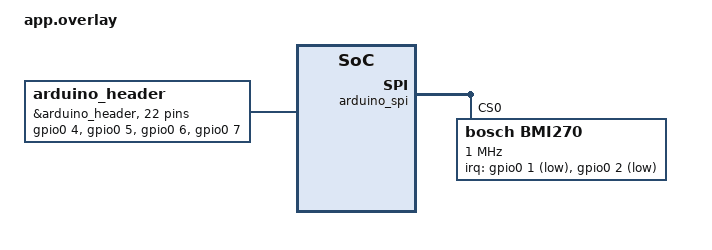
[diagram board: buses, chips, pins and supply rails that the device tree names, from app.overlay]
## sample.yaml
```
sample:
  name: BMI270 Sensor sample
tests:
  sample.sensor.bmi270:
    harness: sensor
    tags: samples sensor
    depends_on: arduino_spi
```

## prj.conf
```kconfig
CONFIG_SPI=y
CONFIG_SENSOR=y
CONFIG_NEWLIB_LIBC=y
CONFIG_NEWLIB_LIBC_FLOAT_PRINTF=y
CONFIG_BMI270_TRIGGER_GLOBAL_THREAD=y
```

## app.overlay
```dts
/*
 * Copyright (c) 2021 Bosch Sensortec GmbH
 *
 * SPDX-License-Identifier: Apache-2.0
 */

&arduino_spi {
	status = "okay";
	bmi270@0 {
		compatible = "bosch,bmi270";
		reg = <0x0 >;
		spi-max-frequency = <1000000>;
		irq-gpios = <&gpio0 1 (GPIO_ACTIVE_LOW)>,
					<&gpio0 2 (GPIO_ACTIVE_LOW)>;
	};
	// cs-gpios = <&gpio1 12 GPIO_ACTIVE_LOW>;
};

&gpiote1 {
	status = "okay";
};

&arduino_header {
	gpio-map = <0 0 &gpio0 4 0>,
			   <1 0 &gpio0 5 0>,
			   <2 0 &gpio0 6 0>,
			   <3 0 &gpio0 7 0>,
			   <4 0 &gpio0 25 0>,
			   <5 0 &gpio0 26 0>,
			   <6 0 &gpio1 0 0>,
			   <7 0 &gpio1 1 0>,
			   <8 0 &gpio1 4 0>,
			   <9 0 &gpio1 5 0>,
			   <10 0 &gpio1 6 0>,
			   <11 0 &gpio1 7 0>,
			   <12 0 &gpio1 8 0>,
			   <13 0 &gpio1 9 0>,
			   <14 0 &gpio1 10 0>,
			   <15 0 &gpio1 11 0>,
			   <16 0 &gpio1 12 0>,
			   <17 0 &gpio1 13 0>,
			   <18 0 &gpio1 14 0>,
			   <19 0 &gpio1 15 0>,
			   <20 0 &gpio1 2 0>,
			   <21 0 &gpio1 3 0>;
};
```

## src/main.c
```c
/*
 * Copyright (c) 2021 Bosch Sensortec GmbH
 *
 * SPDX-License-Identifier: Apache-2.0
 */

#include <zephyr/kernel.h>
#include <zephyr/device.h>
#include <zephyr/drivers/sensor.h>
#include <stdio.h>
#include "bmi270_api.h"
#include <../../../../drivers/sensor/bmi270/bmi270.h>

double sensor_get_double(const struct sensor_value *val);


sensor_trigger_handler_t trigger_handler(const struct device *dev,
			    const struct sensor_trigger *trig)
{
	struct sensor_value acc[3];
	static size_t cnt;
	int rc;

	++cnt;
	rc = sensor_sample_fetch(dev);
	if (rc != 0) {
		printf("sensor_sample_fetch error: %d\n", rc);
		return;
	}
	rc = sensor_channel_get(dev, SENSOR_CHAN_ACCEL_XYZ, acc);
	if (rc != 0) {
		printf("sensor_channel_get error: %d\n", rc);
		return;
	}

	printf("trigger fired %u, AX: %d.%06d; AY: %d.%06d; AZ: %d.%06d;\n", cnt,
	       acc[0].val1, acc[0].val2, acc[1].val1, acc[1].val2, acc[2].val1, acc[2].val2);
}

void main(void)
{
	const struct device *const dev = DEVICE_DT_GET_ONE(bosch_bmi270);
	struct sensor_value acc[3], gyr[3];
	int ret;
	uint8_t reg_value;
	uint8_t feat_page = 1;
	uint8_t pwr_mode = 0x00;
	uint16_t anymo_1_read;

	bmi270_init(dev);
	bmi270_config_anymotion_interrupt(dev,0x5,0xAA);
	bmi270_set_anymotion_trigger(dev, trigger_handler);
	bmi270_basic_config_acc(dev, 2, 800, 1);
	bmi270_basic_config_gyr(dev, 500, 800, 1);
	
	ret = bmi270_reg_read(dev, BMI270_REG_INT1_MAP_FEAT, &reg_value, 1);
	printf("ret int1_map_feat_read: %d\n", ret);
	printf("reg_value int1_map_feat: %x\n\n", reg_value);

	ret = bmi270_reg_write(dev, BMI270_REG_FEAT_PAGE, &feat_page, 1);
	printf("ret feat_page_write: %d\n", ret);
	ret = bmi270_reg_read(dev, BMI270_REG_FEAT_PAGE, &reg_value, 1);
	printf("ret feat_page_read: %d\n", ret);
	printf("reg_value feat_page: %d\n\n", reg_value);

	ret = bmi270_reg_read(dev, BMI270_REG_PWR_CONF, &reg_value, 1);
	printf("ret pwr_conf_read: %d\n", ret);
	printf("reg_value pwr_conf: %x\n\n", reg_value);

	ret = bmi270_reg_write(dev, BMI270_REG_PWR_CTRL, &pwr_mode, 1);
	printf("ret pwr_mode_write: %d\n", ret);

	ret = bmi270_reg_read(dev, BMI270_REG_PWR_CTRL, &reg_value, 1);
	printf("ret pwr_mode_read: %d\n", ret);
	printf("reg_value pwr_conf: %x\n\n", reg_value);

	ret = bmi270_reg_read(dev, 0x3C,&anymo_1_read, 2);
	printf("ret anymo_1_read: %d\n", ret);
	printf("anymo_1_read: 0x%x\n\n", anymo_1_read);
	// while (1) {
	// 	/* 10ms period, 100Hz Sampling frequency */
	// 	k_sleep(K_MSEC(500));

	// 	sensor_sample_fetch(dev);

	// 	sensor_channel_get(dev, SENSOR_CHAN_ACCEL_XYZ, acc);
	// 	sensor_channel_get(dev, SENSOR_CHAN_GYRO_XYZ, gyr);
	// 	printf("AX: %d.%06d; AY: %d.%06d; AZ: %d.%06d; GX: %d.%06d; GY: %d.%06d; GZ: %d.%06d;\n",
	// 	       acc[0].val1, acc[0].val2,
	// 	       acc[1].val1, acc[1].val2,
	// 	       acc[2].val1, acc[2].val2,
	// 	       gyr[0].val1, gyr[0].val2,
	// 	       gyr[1].val1, gyr[1].val2,
	// 	       gyr[2].val1, gyr[2].val2);
	// }
	while(1){
		k_sleep(K_MSEC(100));
	}
}
double sensor_get_double(const struct sensor_value *val)
{
	if(val->val1>=0) {
		return (double)val->val1 + (double)val->val2 / 1000000.0;
	}
	return (double)val->val1 - (double)val->val2 / 1000000.0;
}
```

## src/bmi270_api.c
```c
#include <zephyr/kernel.h>
#include <zephyr/device.h>
#include <zephyr/drivers/sensor.h>
#include <stdio.h>
#include "bmi270_api.h"
#include <../../../../drivers/sensor/bmi270/bmi270.h>
struct sensor_trigger trig;

void bmi270_init(const struct device *const bmi270_dev){
    if (!device_is_ready(bmi270_dev))
	{
		printf("Device %s is not ready\n", bmi270_dev->name);
		return;
	}
	printf("Device %p name is %s\n", bmi270_dev, bmi270_dev->name);
}

void bmi270_basic_config_acc(const struct device *const bmi270_dev, uint16_t full_scale, uint16_t sampling_freq, uint16_t oversampling){
    int rc;
	struct sensor_value Full_scale, Sampling_freq, Oversampling;
    Full_scale.val1 = full_scale;
    Full_scale.val2 = 0;
    Sampling_freq.val1 = sampling_freq;
    Sampling_freq.val2 = 0;
    Oversampling.val1 = oversampling;
    Oversampling.val2 = 0;
    rc = sensor_attr_set(bmi270_dev, SENSOR_CHAN_ACCEL_XYZ, SENSOR_ATTR_FULL_SCALE,
					&Full_scale);
	if (rc != 0) {
		printf("ACCEL full scale attr set failed: %d\n", rc);
		return;
	}
	rc = sensor_attr_set(bmi270_dev, SENSOR_CHAN_ACCEL_XYZ, SENSOR_ATTR_OVERSAMPLING,
					&Oversampling);
	if (rc != 0) {
		printf("ACCEL oversampling attr set failed: %d\n", rc);
		return;
	}
	/* Set sampling frequency last as this also sets the appropriate
	 * power mode. If already sampling, change to 0.0Hz before changing
	 * other attributes
	 */
	rc = sensor_attr_set(bmi270_dev, SENSOR_CHAN_ACCEL_XYZ,SENSOR_ATTR_SAMPLING_FREQUENCY,
					&Sampling_freq);
	if (rc != 0) {
		printf("ACCEL sampling frequency attr set failed: %d\n", rc);
		return;
	}
}
void bmi270_basic_config_gyr(const struct device *const bmi270_dev, uint16_t full_scale, uint16_t sampling_freq, uint16_t oversampling){
    int rc;
	struct sensor_value Full_scale, Sampling_freq, Oversampling;
    Full_scale.val1 = full_scale;
    Full_scale.val2 = 0;
    Sampling_freq.val1 = sampling_freq;
    Sampling_freq.val2 = 0;
    Oversampling.val1 = oversampling;
    Oversampling.val2 = 0;
    rc = sensor_attr_set(bmi270_dev, SENSOR_CHAN_GYRO_XYZ, SENSOR_ATTR_FULL_SCALE,
					&Full_scale);
	if (rc != 0) {
		printf("GYRO full scale attr set failed: %d\n", rc);
		return;
	}
	rc = sensor_attr_set(bmi270_dev, SENSOR_CHAN_GYRO_XYZ, SENSOR_ATTR_OVERSAMPLING,
					&Oversampling);
	if (rc != 0) {
		printf("GYRO oversampling attr set failed: %d\n", rc);
		return;
	}
	/* Set sampling frequency last as this also sets the appropriate
	 * power mode. If already sampling, change to 0.0Hz before changing
	 * other attributes
	 */
	rc = sensor_attr_set(bmi270_dev, SENSOR_CHAN_GYRO_XYZ,
					SENSOR_ATTR_SAMPLING_FREQUENCY,
					&Sampling_freq);
	if (rc != 0) {
		printf("GYRO sampling frequency attr set failed: %d\n", rc);
		return;
	}
}

void bmi270_config_anymotion_interrupt(const struct device *const bmi270_dev, uint16_t threshold, uint16_t duration){
	int rc;
	struct sensor_value Threshold, Duration;
	Threshold.val1 = threshold;
	Threshold.val2 = 0;
	Duration.val1 = duration;
	Duration.val2 = 0;
	rc = sensor_attr_set(bmi270_dev, SENSOR_CHAN_ACCEL_XYZ,
					SENSOR_ATTR_SLOPE_TH,
					&Threshold);
	if (rc != 0) {
		printf("ACCEL slope threshold attr set failed: %d\n", rc);
		return;
	}
	rc = sensor_attr_set(bmi270_dev, SENSOR_CHAN_ACCEL_XYZ,
					SENSOR_ATTR_SLOPE_DUR,
					&Duration);
	if (rc != 0) {
		printf("ACCEL slope duration attr set failed: %d\n", rc);
		return;
	}
}

void bmi270_set_anymotion_trigger(const struct device *const bmi270_dev, sensor_trigger_handler_t trigger_handler){
	int rc;
	trig.chan = SENSOR_CHAN_ACCEL_XYZ;
	trig.type = SENSOR_TRIG_MOTION;
	rc = sensor_trigger_set(bmi270_dev, &trig, trigger_handler);
	if (rc != 0) {
		printf("Trigger set failed: %d\n", rc);
		return;
	}
	printk("Trigger set got %d\n", rc);
}
```
